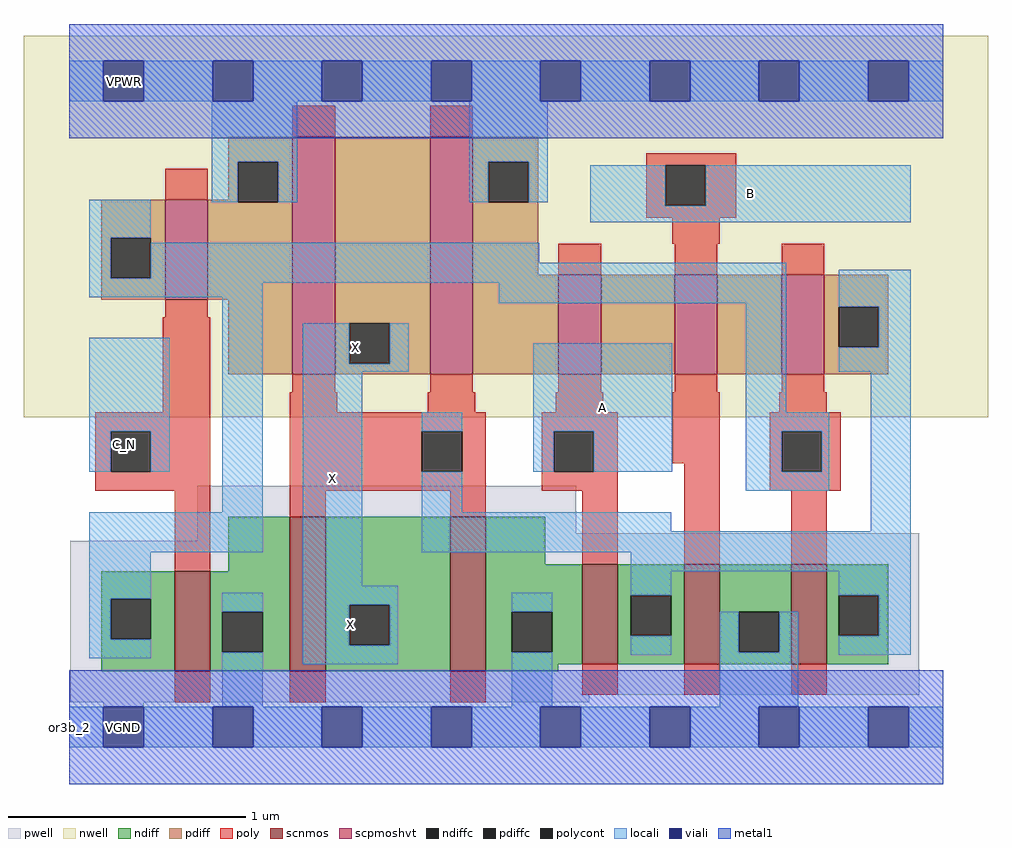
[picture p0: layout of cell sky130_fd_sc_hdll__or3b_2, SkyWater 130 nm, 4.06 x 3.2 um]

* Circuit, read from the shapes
.subckt sky130_fd_sc_hdll__or3b_2 A B C_N VGND VNB VPB VPWR X
XM1 VGND C_N n1 VNB sky130_fd_pr__nfet_01v8 w=0.42 l=0.15
XM2 X n2 VGND VNB sky130_fd_pr__nfet_01v8 w=0.65 l=0.15 m=2
XM3 n2 A VGND VNB sky130_fd_pr__nfet_01v8 w=0.42 l=0.15
XM4 VGND B n2 VNB sky130_fd_pr__nfet_01v8 w=0.42 l=0.15
XM5 n2 n1 VGND VNB sky130_fd_pr__nfet_01v8 w=0.42 l=0.15
XM6 VPWR C_N n1 VPB sky130_fd_pr__pfet_01v8_hvt w=0.42 l=0.18
XM7 X n2 VPWR VPB sky130_fd_pr__pfet_01v8_hvt w=1 l=0.18 m=2
XM8 n3 A VPWR VPB sky130_fd_pr__pfet_01v8_hvt w=0.42 l=0.18
XM9 n4 B n3 VPB sky130_fd_pr__pfet_01v8_hvt w=0.42 l=0.18
XM10 n2 n1 n4 VPB sky130_fd_pr__pfet_01v8_hvt w=0.42 l=0.18
.ends

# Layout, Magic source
magic
tech sky130A
magscale 1 2
<< nwell >>
rect -38 261 774 582
<< pwell >>
rect 108 163 427 203
rect 108 157 716 163
rect 1 27 716 157
rect 1 21 438 27
rect 29 -17 63 21
<< scnmos >>
rect 89 47 119 131
rect 186 47 216 177
rect 321 47 351 177
rect 432 53 462 137
rect 518 53 548 137
rect 608 53 638 137
<< scpmoshvt >>
rect 81 360 117 444
rect 188 297 224 497
rect 304 297 340 497
rect 412 297 448 381
rect 510 297 546 381
rect 600 297 636 381
<< ndiff >>
rect 134 131 186 177
rect 27 108 89 131
rect 27 74 35 108
rect 69 74 89 108
rect 27 47 89 74
rect 119 97 186 131
rect 119 63 129 97
rect 163 63 186 97
rect 119 47 186 63
rect 216 103 321 177
rect 216 69 236 103
rect 270 69 321 103
rect 216 47 321 69
rect 351 137 401 177
rect 351 97 432 137
rect 351 63 373 97
rect 407 63 432 97
rect 351 53 432 63
rect 462 111 518 137
rect 462 77 473 111
rect 507 77 518 111
rect 462 53 518 77
rect 548 97 608 137
rect 548 63 564 97
rect 598 63 608 97
rect 548 53 608 63
rect 638 111 690 137
rect 638 77 648 111
rect 682 77 690 111
rect 638 53 690 77
rect 351 47 412 53
<< pdiff >>
rect 134 476 188 497
rect 134 444 142 476
rect 27 412 81 444
rect 27 378 35 412
rect 69 378 81 412
rect 27 360 81 378
rect 117 442 142 444
rect 176 442 188 476
rect 117 360 188 442
rect 134 297 188 360
rect 224 340 304 497
rect 224 306 236 340
rect 270 306 304 340
rect 224 297 304 306
rect 340 476 395 497
rect 340 442 353 476
rect 387 442 395 476
rect 340 381 395 442
rect 340 297 412 381
rect 448 297 510 381
rect 546 297 600 381
rect 636 354 690 381
rect 636 320 648 354
rect 682 320 690 354
rect 636 297 690 320
<< ndiffc >>
rect 35 74 69 108
rect 129 63 163 97
rect 236 69 270 103
rect 373 63 407 97
rect 473 77 507 111
rect 564 63 598 97
rect 648 77 682 111
<< pdiffc >>
rect 35 378 69 412
rect 142 442 176 476
rect 236 306 270 340
rect 353 442 387 476
rect 648 320 682 354
<< poly >>
rect 188 497 224 523
rect 304 497 340 523
rect 81 444 117 470
rect 81 345 117 360
rect 79 265 119 345
rect 486 473 562 483
rect 486 439 502 473
rect 536 439 562 473
rect 486 429 562 439
rect 508 407 548 429
rect 412 381 448 407
rect 510 381 546 407
rect 600 381 636 407
rect 188 282 224 297
rect 304 282 340 297
rect 412 282 448 297
rect 510 282 546 297
rect 600 282 636 297
rect 22 249 119 265
rect 22 215 35 249
rect 69 215 119 249
rect 22 199 119 215
rect 89 131 119 199
rect 186 265 226 282
rect 302 265 342 282
rect 410 265 450 282
rect 186 249 351 265
rect 186 215 297 249
rect 331 215 351 249
rect 186 199 351 215
rect 398 249 462 265
rect 398 215 408 249
rect 442 215 462 249
rect 508 222 548 282
rect 598 265 638 282
rect 398 199 462 215
rect 186 177 216 199
rect 321 177 351 199
rect 432 137 462 199
rect 518 137 548 222
rect 590 249 650 265
rect 590 215 600 249
rect 634 215 650 249
rect 590 199 650 215
rect 608 137 638 199
rect 89 21 119 47
rect 186 21 216 47
rect 321 21 351 47
rect 432 27 462 53
rect 518 27 548 53
rect 608 27 638 53
<< polycont >>
rect 502 439 536 473
rect 35 215 69 249
rect 297 215 331 249
rect 408 215 442 249
rect 600 215 634 249
<< locali >>
rect 0 527 29 561
rect 63 527 121 561
rect 155 527 213 561
rect 247 527 305 561
rect 339 527 397 561
rect 431 527 489 561
rect 523 527 581 561
rect 615 527 673 561
rect 707 527 736 561
rect 120 476 192 527
rect 17 412 69 444
rect 120 442 142 476
rect 176 442 192 476
rect 337 476 403 527
rect 337 442 353 476
rect 387 442 403 476
rect 439 439 502 473
rect 536 439 709 473
rect 439 425 709 439
rect 17 378 35 412
rect 69 391 396 408
rect 69 378 604 391
rect 17 374 604 378
rect 17 362 163 374
rect 17 249 85 328
rect 17 215 35 249
rect 69 215 85 249
rect 129 181 163 362
rect 362 357 604 374
rect 17 147 163 181
rect 197 306 236 340
rect 270 306 286 340
rect 197 299 286 306
rect 17 108 69 147
rect 197 119 247 299
rect 297 249 331 265
rect 391 249 508 323
rect 391 215 408 249
rect 442 215 508 249
rect 570 265 604 357
rect 648 354 709 385
rect 682 320 709 354
rect 648 299 709 320
rect 570 249 640 265
rect 570 215 600 249
rect 634 215 640 249
rect 297 181 331 215
rect 570 199 640 215
rect 297 165 507 181
rect 675 165 709 299
rect 297 147 709 165
rect 473 131 709 147
rect 17 74 35 108
rect 17 58 69 74
rect 129 97 163 113
rect 129 17 163 63
rect 197 103 277 119
rect 197 69 236 103
rect 270 69 277 103
rect 197 53 277 69
rect 373 97 407 113
rect 373 17 407 63
rect 473 111 507 131
rect 648 111 709 131
rect 473 61 507 77
rect 548 63 564 97
rect 598 63 614 97
rect 548 17 614 63
rect 682 77 709 111
rect 648 61 709 77
rect 0 -17 29 17
rect 63 -17 121 17
rect 155 -17 213 17
rect 247 -17 305 17
rect 339 -17 397 17
rect 431 -17 489 17
rect 523 -17 581 17
rect 615 -17 673 17
rect 707 -17 736 17
<< viali >>
rect 29 527 63 561
rect 121 527 155 561
rect 213 527 247 561
rect 305 527 339 561
rect 397 527 431 561
rect 489 527 523 561
rect 581 527 615 561
rect 673 527 707 561
rect 29 -17 63 17
rect 121 -17 155 17
rect 213 -17 247 17
rect 305 -17 339 17
rect 397 -17 431 17
rect 489 -17 523 17
rect 581 -17 615 17
rect 673 -17 707 17
<< metal1 >>
rect 0 561 736 592
rect 0 527 29 561
rect 63 527 121 561
rect 155 527 213 561
rect 247 527 305 561
rect 339 527 397 561
rect 431 527 489 561
rect 523 527 581 561
rect 615 527 673 561
rect 707 527 736 561
rect 0 496 736 527
rect 0 17 736 48
rect 0 -17 29 17
rect 63 -17 121 17
rect 155 -17 213 17
rect 247 -17 305 17
rect 339 -17 397 17
rect 431 -17 489 17
rect 523 -17 581 17
rect 615 -17 673 17
rect 707 -17 736 17
rect 0 -48 736 -17
<< labels >>
flabel locali s 391 215 508 323 0 FreeSans 400 0 0 0 A
port 1 nsew signal input
flabel locali s 439 425 709 473 0 FreeSans 400 180 0 0 B
port 2 nsew signal input
flabel locali s 30 221 64 255 0 FreeSans 400 0 0 0 C_N
port 3 nsew signal input
flabel locali s 197 299 286 340 0 FreeSans 200 180 0 0 X
port 8 nsew signal output
flabel metal1 s 30 527 64 561 0 FreeSans 200 0 0 0 VPWR
port 7 nsew power bidirectional
flabel metal1 s 29 -17 63 17 0 FreeSans 200 0 0 0 VGND
port 4 nsew ground bidirectional
flabel nwell s 30 527 64 561 0 FreeSans 200 0 0 0 VPB
port 6 nsew power bidirectional
flabel pwell s 29 -17 63 17 0 FreeSans 200 0 0 0 VNB
port 5 nsew ground bidirectional
rlabel comment s 0 0 0 0 4 or3b_2
rlabel locali s 197 119 247 299 1 X
port 8 nsew signal output
rlabel locali s 197 53 277 119 1 X
port 8 nsew signal output
<< properties >>
string LEFsite unithd
string LEFclass CORE
string FIXED_BBOX 0 0 736 544
string GDS_FILE $PDKPATH/libs.ref/sky130_fd_sc_hdll/gds/sky130_fd_sc_hdll.gds
string LEFsymmetry X Y R90
string GDS_END 1434024
string GDS_START 1427914
string LEFproperties maskLayoutSubType "abstract" prCellType "standard" originalViewName "layout"
<< end >>
